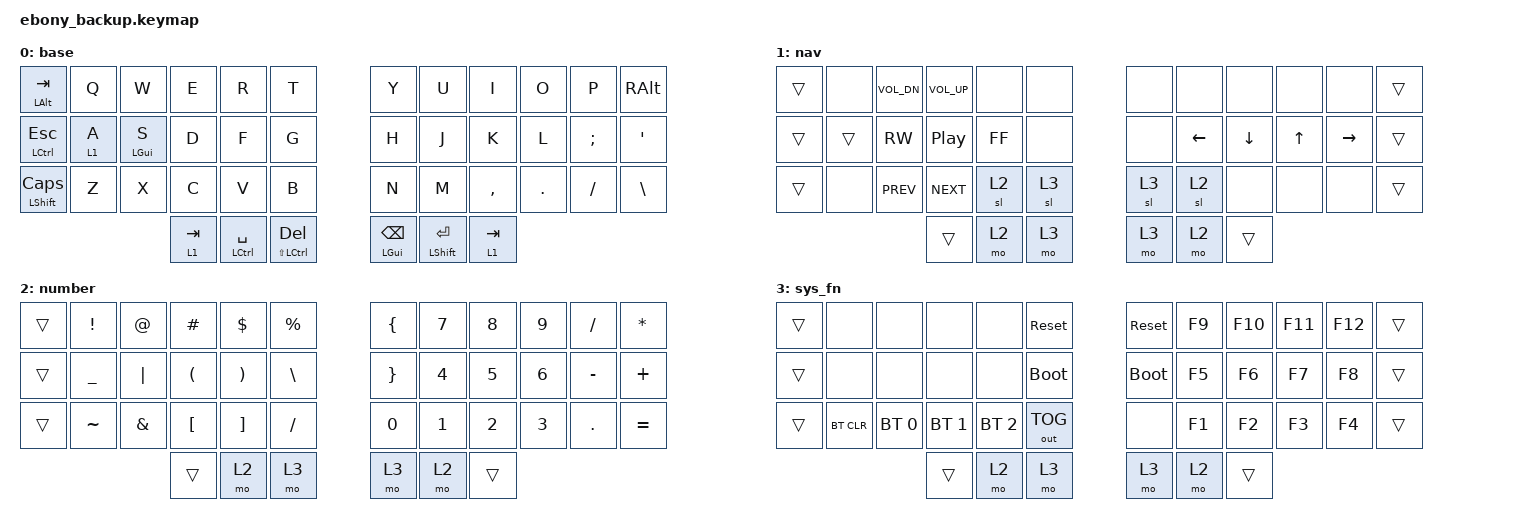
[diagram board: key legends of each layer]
#include <behaviors.dtsi>
#include <dt-bindings/zmk/keys.h>
#include <dt-bindings/zmk/bt.h>
#include <dt-bindings/zmk/outputs.h>
#include <dt-bindings/zmk/mouse.h>

#define U_MOUSE_MOVE_MAX 2250       // 600
#define U_MOUSE_SCROLL_MAX 100      // 10

#undef MOVE_UP
#undef MOVE_DOWN
#undef MOVE_LEFT
#undef MOVE_RIGHT
#define MOVE_UP MOVE_VERT(-U_MOUSE_MOVE_MAX)
#define MOVE_DOWN MOVE_VERT(U_MOUSE_MOVE_MAX)
#define MOVE_LEFT MOVE_HOR(-U_MOUSE_MOVE_MAX)
#define MOVE_RIGHT MOVE_HOR(U_MOUSE_MOVE_MAX)

#undef SCROLL_UP
#undef SCROLL_DOWN
#undef SCROLL_LEFT
#undef SCROLL_RIGHT
#define SCROLL_UP SCROLL_VERT(U_MOUSE_SCROLL_MAX)
#define SCROLL_DOWN SCROLL_VERT(-U_MOUSE_SCROLL_MAX)
#define SCROLL_LEFT SCROLL_HOR(-U_MOUSE_SCROLL_MAX)
#define SCROLL_RIGHT SCROLL_HOR(U_MOUSE_SCROLL_MAX)
/ {
        keymap {
                compatible = "zmk,keymap";
                base {
                        bindings = <
//╭───────────────┬──────────────┬──────────────┬──────────────┬──────────────┬──────────────╮   ╭──────────────┬──────────────┬──────────────┬──────────────┬──────────────┬──────────────╮
    &mt LALT TAB    &kp Q          &kp W          &kp E          &kp R          &kp T              &kp Y          &kp U          &kp I          &kp O          &kp P          &kp RALT
//├───────────────┼──────────────┼──────────────┼──────────────┼──────────────┼──────────────┤   ├──────────────┼──────────────┼──────────────┼──────────────┼──────────────┼──────────────┤
    &mt LCTRL ESC	&lt 1 A        &mt LGUI S     &kp D          &kp F          &kp G              &kp H          &kp J          &kp K          &kp L          &kp SEMI       &kp SQT
//├───────────────┼──────────────┼──────────────┼──────────────┼──────────────┼──────────────┤   ├──────────────┼──────────────┼──────────────┼──────────────┼──────────────┼──────────────┤
    &mt LSHFT CAPS  &kp Z          &kp X          &kp C          &kp V          &kp B              &kp N          &kp M          &kp COMMA      &kp DOT        &kp FSLH       &kp BSLH
//╰───────────────┴──────────────┼──────────────┴────┬─────────┴───────────┬──┴──────────────┤   ├──────────────┴────┬─────────┴───────┬──────┴──────────────┼──────────────┴──────────────╯
                                        &lt 1 TAB        &mt LCTRL SPACE    &mt LS(LCTRL) DEL        &mt LGUI BSPC      &mt LSHIFT RET        &lt 1 TAB
//                               ╰───────────────────┴─────────────────────┴─────────────────╯   ╰───────────────────┴─────────────────┴─────────────────────╯     
                        >;
                };
                nav {
                        bindings = <
//╭───────────────┬──────────────┬──────────────┬──────────────┬──────────────┬──────────────╮   ╭──────────────┬──────────────┬──────────────┬──────────────┬──────────────┬──────────────╮
    &trans          &none          &kp C_VOL_DN   &kp C_VOL_UP   &none          &none              &none          &none          &none          &none          &none          &trans 
//├───────────────┼──────────────┼──────────────┼──────────────┼──────────────┼──────────────┤   ├──────────────┼──────────────┼──────────────┼──────────────┼──────────────┼──────────────┤
    &trans	        &trans	       &kp C_RW       &kp C_PP       &kp C_FF       &none			   &none          &kp LEFT       &kp DOWN       &kp UP         &kp RIGHT      &trans
//├───────────────┼──────────────┼──────────────┼──────────────┼──────────────┼──────────────┤   ├──────────────┼──────────────┼──────────────┼──────────────┼──────────────┼──────────────┤
    &trans          &none          &kp C_PREV     &kp C_NEXT     &sl 2          &sl 3              &sl 3          &sl 2          &none          &none          &none          &trans     
//╰───────────────┴──────────────┼──────────────┴────┬─────────┴───────────┬──┴──────────────┤   ├──────────────┴────┬─────────┴───────┬──────┴──────────────┼──────────────┴──────────────╯
                                        &trans                &mo 2               &mo 3                  &mo 3              &mo 2              &trans
//                               ╰───────────────────┴─────────────────────┴─────────────────╯   ╰───────────────────┴─────────────────┴─────────────────────╯     
                        >;
                };
				number {
                        bindings = <
//╭───────────────┬──────────────┬──────────────┬──────────────┬──────────────┬──────────────╮   ╭──────────────┬──────────────┬──────────────┬──────────────┬──────────────┬──────────────╮
    &trans          &kp EXCL       &kp AT         &kp HASH       &kp DLLR       &kp PRCNT          &kp LBRC       &kp N7         &kp N8         &kp N9         &kp FSLH       &kp STAR 
//├───────────────┼──────────────┼──────────────┼──────────────┼──────────────┼──────────────┤   ├──────────────┼──────────────┼──────────────┼──────────────┼──────────────┼──────────────┤
    &trans          &kp UNDER      &kp PIPE       &kp LPAR       &kp RPAR       &kp BSLH           &kp RBRC       &kp N4         &kp N5         &kp N6         &kp MINUS      &kp PLUS
//├───────────────┼──────────────┼──────────────┼──────────────┼──────────────┼──────────────┤   ├──────────────┼──────────────┼──────────────┼──────────────┼──────────────┼──────────────┤
    &trans          &kp TILDE      &kp AMPS       &kp LBKT       &kp RBKT       &kp FSLH           &kp N0         &kp N1         &kp N2         &kp N3         &kp DOT        &kp EQUAL
//╰───────────────┴──────────────┼──────────────┴────┬─────────┴───────────┬──┴──────────────┤   ├──────────────┴────┬─────────┴───────┬──────┴──────────────┼──────────────┴──────────────╯
                                        &trans                &mo 2               &mo 3                 &mo 3              &mo 2                &trans
//                               ╰───────────────────┴─────────────────────┴─────────────────╯   ╰───────────────────┴─────────────────┴─────────────────────╯     
                        >;
                };
                sys_fn {
                        bindings = <
//╭───────────────┬──────────────┬──────────────┬──────────────┬──────────────┬──────────────╮   ╭──────────────┬──────────────┬──────────────┬──────────────┬──────────────┬──────────────╮
    &trans	        &none          &none          &none          &none          &sys_reset         &sys_reset     &kp F9         &kp F10         &kp F11	   &kp F12        &trans  
//├───────────────┼──────────────┼──────────────┼──────────────┼──────────────┼──────────────┤   ├──────────────┼──────────────┼──────────────┼──────────────┼──────────────┼──────────────┤
    &trans  	    &none    	   &none          &none          &none          &bootloader        &bootloader    &kp F5         &kp F6         &kp F7         &kp F8         &trans
//├───────────────┼──────────────┼──────────────┼──────────────┼──────────────┼──────────────┤   ├──────────────┼──────────────┼──────────────┼──────────────┼──────────────┼──────────────┤
    &trans          &bt BT_CLR     &bt BT_SEL 0   &bt BT_SEL 1   &bt BT_SEL 2   &out OUT_TOG       &none          &kp F1         &kp F2         &kp F3         &kp F4         &trans
//╰───────────────┴──────────────┼──────────────┴────┬─────────┴───────────┬──┴──────────────┤   ├──────────────┴────┬─────────┴───────┬──────┴──────────────┼──────────────┴──────────────╯
                                        &trans                &mo 2               &mo 3                  &mo 3              &mo 2             &trans
//                               ╰───────────────────┴─────────────────────┴─────────────────╯   ╰───────────────────┴─────────────────┴─────────────────────╯     
                        >;
                };

        };
		behaviors {
			mo_stk: behavior_mo_stk {
				compatible = "zmk,behavior-hold-tap";
				label = "mo_stk";
				#binding-cells = <2>;
				flavor = "hold-preferred";
				tapping-term-ms = <200>;
				bindings = <&kp>, <&sk>;
			};
			mod: mod_hold {
				compatible = "zmk,behavior-hold-tap";
				label = "mod";
				#binding-cells = <2>;
				flavor = "hold-preferred";
				tapping-term-ms = <200>;
				bindings = <&kp>, <&kp>;
			};
			td_sk: tap_dance_sticky {
				compatible = "zmk,behavior-tap-dance";
				label = "TAP_DANCE_STICKY";
				#binding-cells = <0>;
				tapping-term-ms = <200>;
				bindings = <&mo_stk LGUI LSHIFT>, <&kp LS(LGUI)>, <&kp LC(LGUI)>;
			};
			td_back: tap_dance_backspace {
				compatible = "zmk,behavior-tap-dance";
				label = "TAP_DANCE_BACKSPACE";
				#binding-cells = <0>;
				tapping-term-ms = <200>;
				bindings = <&kp BSPC>, <&kp LC(BSPC)>;
			};
			td_layer: tap_dance_layer {
				compatible = "zmk,behavior-tap-dance";
				label = "TAP_DANCE_LAYER";
				#binding-cells = <0>;
				tapping-term-ms = <200>;
				bindings = <&lt	1 TAB>, <&sl 2>, <&sl 3>;
			};
		};
};

&mt {
    quick-tap-ms = <300>;
    global-quick-tap;
    flavor = "tap-preferred";
    tapping-term-ms = <175>;
    retro-tap;
};
&lt {
    quick-tap-ms = <300>;
    global-quick-tap;
    flavor = "tap-preferred";
	tapping-term-ms = <175>;
	retro-tap;
};
&mmv {
    time-to-max-speed-ms = <200>;
};
&mwh {
    acceleration-exponent=<1>;
};
